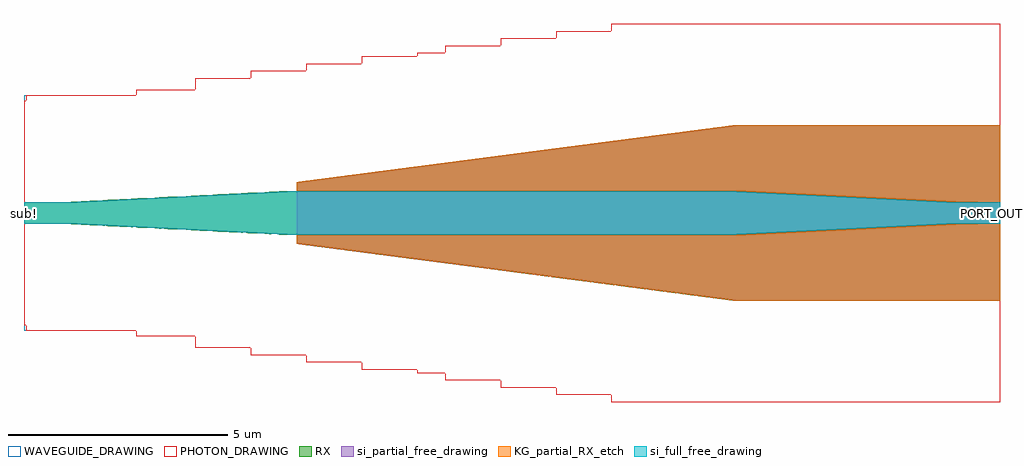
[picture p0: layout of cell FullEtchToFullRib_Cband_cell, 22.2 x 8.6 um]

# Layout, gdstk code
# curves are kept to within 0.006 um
import gdstk
lib = gdstk.Library(unit=1e-6, precision=1e-09)
def P(c, l, *ps):  # polygons
    for p in ps: c.add(gdstk.Polygon(p, *l))
RX = (2, 0)
PHOTON_DRAWING = (212, 235)
WAVEGUIDE_DRAWING = (212, 239)
si_full_free_drawing = (1002, 100)
si_partial_free_drawing = (1002, 103)
KG_partial_RX_etch = (3715, 0)

fulletchtofullrib_cband_ = lib.new_cell('FullEtchToFullRib_Cband_cell')
P(fulletchtofullrib_cband_, RX, [(16.206,-2),(6.2,-0.7),(6.2,-0.5),(5.81,-0.491),(1,-0.25),(0,-0.25),(0,0.25),(1,0.25),(5.811,0.491),(6.2,0.5),(6.2,0.7),(16.206,2),(22.2,2),(22.2,-2)])
P(fulletchtofullrib_cband_, PHOTON_DRAWING, [(13.363,-4.3),(13.363,-4.136),(12.101,-4.136),(12.101,-3.972),(10.839,-3.972),(10.839,-3.808),(9.578,-3.808),(9.578,-3.644),(8.947,-3.644),(8.947,-3.562),(7.685,-3.562),(7.685,-3.398),(6.423,-3.398),(6.423,-3.234),(5.162,-3.234),(5.162,-3.07),(3.9,-3.07),(3.9,-2.8),(2.548,-2.8),(2.548,-2.675),(0.047,-2.675),(0.047,-2.55),(0,-2.55),(0,2.55),(0.047,2.55),(0.047,2.675),(2.548,2.675),(2.548,2.8),(3.9,2.8),(3.9,3.07),(5.162,3.07),(5.162,3.234),(6.423,3.234),(6.423,3.398),(7.685,3.398),(7.685,3.562),(8.947,3.562),(8.947,3.644),(9.578,3.644),(9.578,3.808),(10.839,3.808),(10.839,3.972),(12.101,3.972),(12.101,4.136),(13.363,4.136),(13.363,4.3),(22.2,4.3),(22.2,-4.3)])
P(fulletchtofullrib_cband_, WAVEGUIDE_DRAWING, [(13.363,-4.3),(13.363,-4.136),(12.101,-4.136),(12.101,-3.972),(10.839,-3.972),(10.839,-3.808),(9.578,-3.808),(9.578,-3.644),(8.947,-3.644),(8.947,-3.562),(7.685,-3.562),(7.685,-3.398),(6.423,-3.398),(6.423,-3.234),(5.162,-3.234),(5.162,-3.07),(3.9,-3.07),(3.9,-2.8),(2.548,-2.8),(2.548,-2.675),(0,-2.675),(0,2.675),(2.548,2.675),(2.548,2.8),(3.9,2.8),(3.9,3.07),(5.162,3.07),(5.162,3.234),(6.423,3.234),(6.423,3.398),(7.685,3.398),(7.685,3.562),(8.947,3.562),(8.947,3.644),(9.578,3.644),(9.578,3.808),(10.839,3.808),(10.839,3.972),(12.101,3.972),(12.101,4.136),(13.363,4.136),(13.363,4.3),(22.2,4.3),(22.2,-4.3)])
P(fulletchtofullrib_cband_, si_full_free_drawing, [(6,-0.5),(1,-0.25),(0,-0.25),(0,0.25),(1,0.25),(6,0.5),(16.2,0.5),(21.2,0.25),(22.2,0.25),(22.2,-0.25),(21.2,-0.25),(16.2,-0.5)])
P(fulletchtofullrib_cband_, si_partial_free_drawing, [(16.2,-2),(6.2,-0.7),(6.2,0.7),(16.2,2),(22.2,2),(22.2,-2)])
P(fulletchtofullrib_cband_, KG_partial_RX_etch, [(22.2,0.225),(21.201,0.25),(16.199,0.5),(6.2,0.5),(6.2,0.701),(16.193,2),(22.2,2)],
  [(16.193,-2),(6.2,-0.701),(6.2,-0.5),(16.199,-0.5),(21.201,-0.25),(22.2,-0.225),(22.2,-2)])
fulletchtofullrib_cband_.add(gdstk.Label('sub!', (0,0), layer=61, texttype=31))
fulletchtofullrib_cband_.add(gdstk.Label('sub!', (0,0), layer=61, texttype=31))
fulletchtofullrib_cband_.add(gdstk.Label('PORT_IN', (0,0), layer=1001, texttype=13))
fulletchtofullrib_cband_.add(gdstk.Label('PORT_OUT', (22.2,0), layer=1001, texttype=13))

lib.write_gds('FullEtchToFullRib_Cband_cell.gds')
